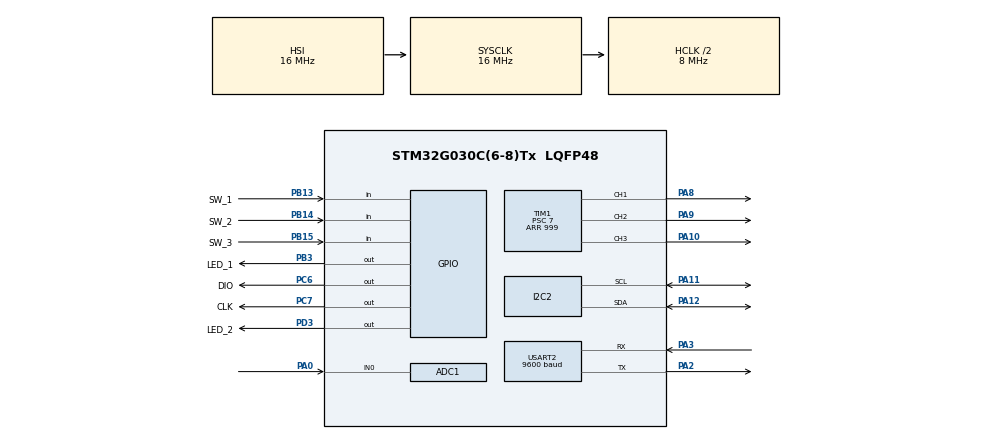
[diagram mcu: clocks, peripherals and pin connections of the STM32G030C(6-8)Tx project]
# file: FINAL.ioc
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ADC1.Channel-3\#ChannelRegularConversion=ADC_CHANNEL_0
ADC1.ClockPrescaler=ADC_CLOCK_SYNC_PCLK_DIV4
ADC1.ContinuousConvMode=ENABLE
ADC1.DMAContinuousRequests=ENABLE
ADC1.NbrOfConversionFlag=1
ADC1.Rank-3\#ChannelRegularConversion=1
ADC1.SamplingTime-3\#ChannelRegularConversion=ADC_SAMPLINGTIME_COMMON_1
ADC1.SamplingTimeCommon1=ADC_SAMPLETIME_79CYCLES_5
ADC1.SamplingTimeCommon2=ADC_SAMPLETIME_79CYCLES_5
ADC1.SelectedChannel=ADC_CHANNEL_0
ADC1.master=1
Dma.ADC1.0.Direction=DMA_PERIPH_TO_MEMORY
Dma.ADC1.0.EventEnable=DISABLE
Dma.ADC1.0.Instance=DMA1_Channel1
Dma.ADC1.0.MemDataAlignment=DMA_MDATAALIGN_HALFWORD
Dma.ADC1.0.MemInc=DMA_MINC_ENABLE
Dma.ADC1.0.Mode=DMA_CIRCULAR
Dma.ADC1.0.PeriphDataAlignment=DMA_PDATAALIGN_HALFWORD
Dma.ADC1.0.PeriphInc=DMA_PINC_DISABLE
Dma.ADC1.0.Polarity=HAL_DMAMUX_REQ_GEN_RISING
Dma.ADC1.0.Priority=DMA_PRIORITY_LOW
Dma.ADC1.0.RequestNumber=1
Dma.ADC1.0.SignalID=NONE
Dma.ADC1.0.SyncEnable=DISABLE
Dma.ADC1.0.SyncPolarity=HAL_DMAMUX_SYNC_NO_EVENT
Dma.ADC1.0.SyncRequestNumber=1
Dma.ADC1.0.SyncSignalID=NONE
Dma.Request0=ADC1
I2C2.Timing=0x00201D2B
Mcu.Family=STM32G0
Mcu.Name=STM32G030C(6-8)Tx
Mcu.Package=LQFP48
NVIC.DMA1_Channel1_IRQn=true\:0\:0\:false\:false\:true\:false\:true\:true
PA0.Mode=IN0
PA0.Signal=ADC1_IN0
PA10.Signal=S_TIM1_CH3
PA11\ [PA9].Mode=I2C
PA11\ [PA9].Signal=I2C2_SCL
PA12\ [PA10].Mode=I2C
PA12\ [PA10].Signal=I2C2_SDA
PA13.Mode=Serial_Wire
PA13.Signal=SYS_SWDIO
PA14-BOOT0.Mode=Serial_Wire
PA14-BOOT0.Signal=SYS_SWCLK
PA2.Mode=Asynchronous
PA2.Signal=USART2_TX
PA3.Mode=Asynchronous
PA3.Signal=USART2_RX
PA8.Signal=S_TIM1_CH1
PA9.Signal=S_TIM1_CH2
PB13.GPIO_Label=SW_1
PB13.Signal=GPIO_Input
PB14.GPIO_Label=SW_2
PB14.Signal=GPIO_Input
PB15.GPIO_Label=SW_3
PB15.Signal=GPIO_Input
PB3.GPIO_Label=LED_1
PB3.Signal=GPIO_Output
PC14-OSC32_IN\ (PC14).Mode=LSE-External-Oscillator
PC14-OSC32_IN\ (PC14).Signal=RCC_OSC32_IN
PC15-OSC32_OUT\ (PC15).Mode=LSE-External-Oscillator
PC15-OSC32_OUT\ (PC15).Signal=RCC_OSC32_OUT
PC6.GPIO_Label=DIO
PC6.Signal=GPIO_Output
PC7.GPIO_Label=CLK
PC7.Signal=GPIO_Output
PD3.GPIO_Label=LED_2
PD3.Signal=GPIO_Output
ProjectManager.HeapSize=0x200
ProjectManager.StackSize=0x400
ProjectManager.TargetToolchain=MDK-ARM V5.32
RCC.AHBCLKDivider=RCC_SYSCLK_DIV2
RCC.AHBFreq_Value=8000000
RCC.CortexFreq_Value=8000000
RCC.EXTERNAL_CLOCK_VALUE=12288000
RCC.HCLKFreq_Value=8000000
RCC.HSE_VALUE=8000000
RCC.HSI_VALUE=16000000
RCC.RTCClockSelection=RCC_RTCCLKSOURCE_LSE
RCC.SYSCLKFreq_VALUE=16000000
RCC.VCOOutputFreq_Value=128000000
RTC.Minutes=36
SH.S_TIM1_CH1.0=TIM1_CH1,PWM Generation1 CH1
SH.S_TIM1_CH2.0=TIM1_CH2,PWM Generation2 CH2
SH.S_TIM1_CH3.0=TIM1_CH3,PWM Generation3 CH3
TIM1.AutoReloadPreload=TIM_AUTORELOAD_PRELOAD_ENABLE
TIM1.Channel-PWM\ Generation1\ CH1=TIM_CHANNEL_1
TIM1.Channel-PWM\ Generation2\ CH2=TIM_CHANNEL_2
TIM1.Channel-PWM\ Generation3\ CH3=TIM_CHANNEL_3
TIM1.Period=999
TIM1.Prescaler=7
USART2.BaudRate=9600
USART2.VirtualMode-Asynchronous=VM_ASYNC
VP_RTC_VS_RTC_Activate.Mode=RTC_Enabled
VP_RTC_VS_RTC_Calendar.Mode=RTC_Calendar
VP_TIM1_VS_ClockSourceINT.Mode=Internal
board=custom

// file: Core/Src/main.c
/* USER CODE BEGIN Header */
/**
  ******************************************************************************
  * @file           : main.c
  * @brief          : Main program body
  ******************************************************************************
/* USER CODE BEGIN Header */
/**
  ******************************************************************************
  * @file           : main.c
  * @brief          : Smart Clock with NTC, RTC, EEPROM, RGB LED, and UART Menu
  ******************************************************************************
  */
/* USER CODE END Header */
#include "main.h"
#include "adc.h"
#include "dma.h"
#include "i2c.h"
#include "rtc.h"
#include "tim.h"
#include "usart.h"
#include "gpio.h"
#include "tm1637.h"
#include <stdio.h>
#include <string.h>
#include <stdbool.h>
#include <math.h>
#define R14         10000.0
#define VCC         3.3
#define ADC_MAX     4095.0
#define BETA        3950.0
#define R_NOMINAL   10000.0
#define T_NOMINAL   298.15
/* USER CODE END Includes */

/* USER CODE BEGIN PTD */
typedef enum {
    STATE_NORMAL,
    STATE_MAIN_MENU,
    STATE_SUB_SET_TIME_H,
    STATE_SUB_SET_TIME_M,
    STATE_SUB_TOGGLE_DISPLAY,
    STATE_SUB_SET_COLOR,
    STATE_SUB_UART_INTERVAL,
    STATE_SUB_UART_TOGGLE
} SystemState;

typedef struct {
    uint8_t display_en;
    uint8_t led_color;      // 0:RED, 1:GREEN, 2:BLUE
    uint8_t uart_en;
    uint8_t uart_interval;
    uint16_t boot_count;
} SystemSettings;
/* USER CODE END PTD */

/* USER CODE BEGIN PD */
#define EEPROM_ADDR 0xA0
/* USER CODE END PD */

/* USER CODE BEGIN PV */
SystemState current_state = STATE_NORMAL;
int menu_index = 0;
const int MAX_MENU_ITEMS = 5;
SystemSettings settings;

uint8_t buffer_h = 0, buffer_m = 0;
uint32_t last_uart_tick = 0;
uint32_t last_display_update = 0;
tm1637_t tm1637;

volatile uint32_t current_adc;
volatile float temp_c = 25.0;
float v_out;
float r_ntc;
float inv_t;
/* USER CODE END PV */

void SystemClock_Config(void);
/* USER CODE BEGIN PFP */
void Load_Settings_From_EEPROM(void);
void Save_Settings_To_EEPROM(void);
void Update_Temperature_LED(void);
void Handle_UART_Transmission(void);
void Refresh_Display_Output(void);
void Execute_Button_Action(uint8_t button_id);
/* USER CODE END PFP */

/* USER CODE BEGIN 0 */

void Load_Settings_From_EEPROM(void) {
    if (HAL_I2C_Mem_Read(&hi2c2, EEPROM_ADDR, 0x00, 1, (uint8_t*)&settings, sizeof(settings), 100) != HAL_OK) {
        settings.display_en = 1;
        settings.led_color = 0;
        settings.uart_en = 1;
        settings.uart_interval = 5;
        settings.boot_count = 0;
    }
    settings.boot_count++;
    HAL_I2C_Mem_Write(&hi2c2, EEPROM_ADDR, 0x00, 1, (uint8_t*)&settings, sizeof(settings), 100);
    HAL_Delay(10);
}

void Save_Settings_To_EEPROM(void) {
    HAL_I2C_Mem_Write(&hi2c2, EEPROM_ADDR, 0x00, 1, (uint8_t*)&settings, sizeof(settings), 100);
    HAL_Delay(10);
}

void Update_Temperature_LED(void) {
    HAL_ADC_Start(&hadc1);
    if (HAL_ADC_PollForConversion(&hadc1, HAL_MAX_DELAY) == HAL_OK) {
        current_adc = HAL_ADC_GetValue(&hadc1);
        HAL_ADC_Stop(&hadc1);

        if (current_adc > 0 && current_adc < 4095) {

            v_out = (float)current_adc * VCC / ADC_MAX;
            r_ntc = R14 * (v_out / (VCC - v_out));
            inv_t = (1.0 / T_NOMINAL) + (1.0 / BETA) * logf(r_ntc / R_NOMINAL);
            temp_c = (1.0 / inv_t) - 273.15;

            float t_min = 20.0;
            float t_max = 100.0;
            float pwm_val = 0;

             pwm_val = ((temp_c - t_min) / (t_max - t_min)) * 999.0;

            uint32_t pwm_intensity = (uint32_t)pwm_val;

            __HAL_TIM_SET_COMPARE(&htim1, TIM_CHANNEL_1, 0);
            __HAL_TIM_SET_COMPARE(&htim1, TIM_CHANNEL_2, 0);
            __HAL_TIM_SET_COMPARE(&htim1, TIM_CHANNEL_3, 0);

            if (settings.led_color == 0)      __HAL_TIM_SET_COMPARE(&htim1, TIM_CHANNEL_1, pwm_intensity);
            else if (settings.led_color == 1) __HAL_TIM_SET_COMPARE(&htim1, TIM_CHANNEL_2, pwm_intensity);
            else if (settings.led_color == 2) __HAL_TIM_SET_COMPARE(&htim1, TIM_CHANNEL_3, pwm_intensity);
        }
    }
}

void Handle_UART_Transmission(void) {
    if (!settings.uart_en) return;

    uint32_t current_time = HAL_GetTick();
    if (current_time - last_uart_tick >= (settings.uart_interval * 1000)) {
        last_uart_tick = current_time;

        RTC_TimeTypeDef sTime = {0};
        RTC_DateTypeDef sDate = {0};
        HAL_RTC_GetTime(&hrtc, &sTime, RTC_FORMAT_BIN);
        HAL_RTC_GetDate(&hrtc, &sDate, RTC_FORMAT_BIN);

        HAL_GPIO_WritePin(GPIOB, GPIO_PIN_3, GPIO_PIN_SET);

        char tx_buffer[80];

        int temp_integer = (int)temp_c;
        int temp_fraction = (int)((temp_c - temp_integer) * 10);
        if (temp_fraction < 0) temp_fraction = -temp_fraction;

        snprintf(tx_buffer, sizeof(tx_buffer),
                 "Time: %02d:%02d:%02d | Boots: %d | Temp: %d.%d C\r\n",
                 sTime.Hours, sTime.Minutes, sTime.Seconds, settings.boot_count, temp_integer, temp_fraction);

        HAL_UART_Transmit(&huart2, (uint8_t*)tx_buffer, strlen(tx_buffer), 100);

        HAL_Delay(5);
        HAL_GPIO_WritePin(GPIOB, GPIO_PIN_3, GPIO_PIN_RESET);
    }
}

void Refresh_Display_Output(void) {
    char str_buf[6];

    if (current_state != STATE_NORMAL)
        HAL_GPIO_WritePin(GPIOD, GPIO_PIN_3, GPIO_PIN_SET);
    else
        HAL_GPIO_WritePin(GPIOD, GPIO_PIN_3, GPIO_PIN_RESET);

    switch (current_state) {
        case STATE_NORMAL:
            if (settings.display_en) {
                RTC_TimeTypeDef sTime = {0};
                RTC_DateTypeDef sDate = {0};
                HAL_RTC_GetTime(&hrtc, &sTime, RTC_FORMAT_BIN);
                HAL_RTC_GetDate(&hrtc, &sDate, RTC_FORMAT_BIN);

                snprintf(str_buf, sizeof(str_buf), "%02d%02d", sTime.Hours, sTime.Minutes);
                tm1637_write_string(&tm1637, str_buf);
            } else {
                tm1637_fill(&tm1637, false);
            }
            break;

        case STATE_MAIN_MENU:
            if (menu_index == 0) tm1637_write_string(&tm1637, "SETN");
            if (menu_index == 1) tm1637_write_string(&tm1637, "DISP");
            if (menu_index == 2) tm1637_write_string(&tm1637, "COLR");
            if (menu_index == 3) tm1637_write_string(&tm1637, "INTV");
            if (menu_index == 4) tm1637_write_string(&tm1637, "UART");
            break;

        case STATE_SUB_SET_TIME_H:
            snprintf(str_buf, sizeof(str_buf), "H.%02d", buffer_h);
            tm1637_write_string(&tm1637, str_buf);
            break;

        case STATE_SUB_SET_TIME_M:
            snprintf(str_buf, sizeof(str_buf), "M.%02d", buffer_m);
            tm1637_write_string(&tm1637, str_buf);
            break;

        case STATE_SUB_TOGGLE_DISPLAY:
            if (settings.display_en) tm1637_write_string(&tm1637, "D.ON ");
            else tm1637_write_string(&tm1637, "D.OFF");
            break;

        case STATE_SUB_SET_COLOR:
            if (settings.led_color == 0)      tm1637_write_string(&tm1637, "RED ");
            else if (settings.led_color == 1) tm1637_write_string(&tm1637, "GREN ");
            else if (settings.led_color == 2) tm1637_write_string(&tm1637, "BLU ");
            break;

        case STATE_SUB_UART_INTERVAL:
            snprintf(str_buf, sizeof(str_buf), "U.%02d", settings.uart_interval);
            tm1637_write_string(&tm1637, str_buf);
            break;

        case STATE_SUB_UART_TOGGLE:
            if (settings.uart_en) tm1637_write_string(&tm1637, "U.ON ");
            else tm1637_write_string(&tm1637, "U.OFF");
            break;
    }
}

void Execute_Button_Action(uint8_t button_id) { // 1: UP, 2: DOWN, 3: SELECT
    switch (current_state) {
        case STATE_NORMAL:
            if (button_id == 3) {
                current_state = STATE_MAIN_MENU;
                menu_index = 0;
            }
            break;

        case STATE_MAIN_MENU:
            if (button_id == 1) { menu_index--; if (menu_index < 0) menu_index = MAX_MENU_ITEMS - 1; }
            if (button_id == 2) { menu_index++; if (menu_index >= MAX_MENU_ITEMS) menu_index = 0; }
            if (button_id == 3) {
                if (menu_index == 0) {
                    RTC_TimeTypeDef sTime = {0};
                    RTC_DateTypeDef sDate = {0};
                    HAL_RTC_GetTime(&hrtc, &sTime, RTC_FORMAT_BIN);
                    HAL_RTC_GetDate(&hrtc, &sDate, RTC_FORMAT_BIN);
                    buffer_h = sTime.Hours;
                    buffer_m = sTime.Minutes;
                    current_state = STATE_SUB_SET_TIME_H;
                }
                else if (menu_index == 1) current_state = STATE_SUB_TOGGLE_DISPLAY;
                else if (menu_index == 2) current_state = STATE_SUB_SET_COLOR;
                else if (menu_index == 3) current_state = STATE_SUB_UART_INTERVAL;
                else if (menu_index == 4) current_state = STATE_SUB_UART_TOGGLE;
            }
            break;

        case STATE_SUB_SET_TIME_H:
            if (button_id == 1) { buffer_h++; if (buffer_h > 23) buffer_h = 0; }
            if (button_id == 2) { if (buffer_h == 0) buffer_h = 23; else buffer_h--; }
            if (button_id == 3) current_state = STATE_SUB_SET_TIME_M;
            break;

        case STATE_SUB_SET_TIME_M:
            if (button_id == 1) { buffer_m++; if (buffer_m > 59) buffer_m = 0; }
            if (button_id == 2) { if (buffer_m == 0) buffer_m = 59; else buffer_m--; }
            if (button_id == 3) {
                RTC_TimeTypeDef sTime = {0};
                sTime.Hours = buffer_h;
                sTime.Minutes = buffer_m;
                sTime.Seconds = 0;
                HAL_RTC_SetTime(&hrtc, &sTime, RTC_FORMAT_BIN);

                current_state = STATE_NORMAL;
            }
            break;

        case STATE_SUB_TOGGLE_DISPLAY:
            if (button_id == 1 || button_id == 2) settings.display_en = !settings.display_en;
            if (button_id == 3) { Save_Settings_To_EEPROM(); current_state = STATE_NORMAL; }
            break;

        case STATE_SUB_SET_COLOR:
            if (button_id == 1) { settings.led_color++; if(settings.led_color > 2) settings.led_color = 0; }
            if (button_id == 2) { if(settings.led_color == 0) settings.led_color = 2; else settings.led_color--; }
            if (button_id == 3) { Save_Settings_To_EEPROM(); current_state = STATE_NORMAL; }
            break;

        case STATE_SUB_UART_INTERVAL:
            if (button_id == 1) { settings.uart_interval++; if(settings.uart_interval > 99) settings.uart_interval = 1; }
            if (button_id == 2) { if(settings.uart_interval <= 1) settings.uart_interval = 99; else settings.uart_interval--; }
            if (button_id == 3) { Save_Settings_To_EEPROM(); current_state = STATE_NORMAL; }
            break;

        case STATE_SUB_UART_TOGGLE:
            if (button_id == 1 || button_id == 2) settings.uart_en = !settings.uart_en;
            if (button_id == 3) { Save_Settings_To_EEPROM(); current_state = STATE_NORMAL; }
            break;
    }
    Refresh_Display_Output();
}
/* USER CODE END 0 */

int main(void)
{

  HAL_Init();

  SystemClock_Config();

  MX_GPIO_Init();
  MX_DMA_Init();
  MX_ADC1_Init();
  MX_I2C2_Init();
  MX_USART2_UART_Init();
  MX_TIM1_Init();
  MX_RTC_Init();
  /* USER CODE BEGIN 2 */

  HAL_ADCEx_Calibration_Start(&hadc1);

  Load_Settings_From_EEPROM();

  tm1637_init(&tm1637, GPIOC, GPIO_PIN_7, GPIOC, GPIO_PIN_6);
  tm1637_brightness(&tm1637, 5);

  HAL_TIM_PWM_Start(&htim1, TIM_CHANNEL_1);
  HAL_TIM_PWM_Start(&htim1, TIM_CHANNEL_2);
  HAL_TIM_PWM_Start(&htim1, TIM_CHANNEL_3);

  uint32_t btn1_debounce = 0, btn2_debounce = 0, btn3_debounce = 0;
  Refresh_Display_Output();
  /* USER CODE END 2 */

  while (1)
  {
    uint32_t current_tick = HAL_GetTick();

    if (current_state == STATE_NORMAL) {
        if (current_tick - last_display_update >= 1000) {
            last_display_update = current_tick;
            Refresh_Display_Output();
        }
    }

    if (HAL_GPIO_ReadPin(GPIOB, GPIO_PIN_13) == GPIO_PIN_RESET) {
        if (current_tick - btn1_debounce > 250) { Execute_Button_Action(1); btn1_debounce = current_tick; }
    }
    if (HAL_GPIO_ReadPin(GPIOB, GPIO_PIN_14) == GPIO_PIN_RESET) {
        if (current_tick - btn2_debounce > 250) { Execute_Button_Action(2); btn2_debounce = current_tick; }
    }
    if (HAL_GPIO_ReadPin(GPIOB, GPIO_PIN_15) == GPIO_PIN_RESET) {
        if (current_tick - btn3_debounce > 250) { Execute_Button_Action(3); btn3_debounce = current_tick; }
    }

    Update_Temperature_LED();
    Handle_UART_Transmission();

    HAL_Delay(5);
    /* USER CODE END WHILE */

  }
}

void SystemClock_Config(void)
{
  RCC_OscInitTypeDef RCC_OscInitStruct = {0};
  RCC_ClkInitTypeDef RCC_ClkInitStruct = {0};

  /** Configure the main internal regulator output voltage
  */
  HAL_PWREx_ControlVoltageScaling(PWR_REGULATOR_VOLTAGE_SCALE1);

  /** Configure LSE Drive Capability
  */
  HAL_PWR_EnableBkUpAccess();
  __HAL_RCC_LSEDRIVE_CONFIG(RCC_LSEDRIVE_LOW);

  /** Initializes the RCC Oscillators according to the specified parameters
  * in the RCC_OscInitTypeDef structure.
  */
  RCC_OscInitStruct.OscillatorType = RCC_OSCILLATORTYPE_HSI|RCC_OSCILLATORTYPE_LSE;
  RCC_OscInitStruct.LSEState = RCC_LSE_ON;
  RCC_OscInitStruct.HSIState = RCC_HSI_ON;
  RCC_OscInitStruct.HSIDiv = RCC_HSI_DIV1;
  RCC_OscInitStruct.HSICalibrationValue = RCC_HSICALIBRATION_DEFAULT;
  RCC_OscInitStruct.PLL.PLLState = RCC_PLL_NONE;
  if (HAL_RCC_OscConfig(&RCC_OscInitStruct) != HAL_OK)
  {
    Error_Handler();
  }

  RCC_ClkInitStruct.ClockType = RCC_CLOCKTYPE_HCLK|RCC_CLOCKTYPE_SYSCLK
                              |RCC_CLOCKTYPE_PCLK1;
  RCC_ClkInitStruct.SYSCLKSource = RCC_SYSCLKSOURCE_HSI;
  RCC_ClkInitStruct.AHBCLKDivider = RCC_SYSCLK_DIV2;
  RCC_ClkInitStruct.APB1CLKDivider = RCC_HCLK_DIV1;

  if (HAL_RCC_ClockConfig(&RCC_ClkInitStruct, FLASH_LATENCY_0) != HAL_OK)
  {
    Error_Handler();
  }
}

void Error_Handler(void)
{
  __disable_irq();
  while (1)
  {
  }
}
